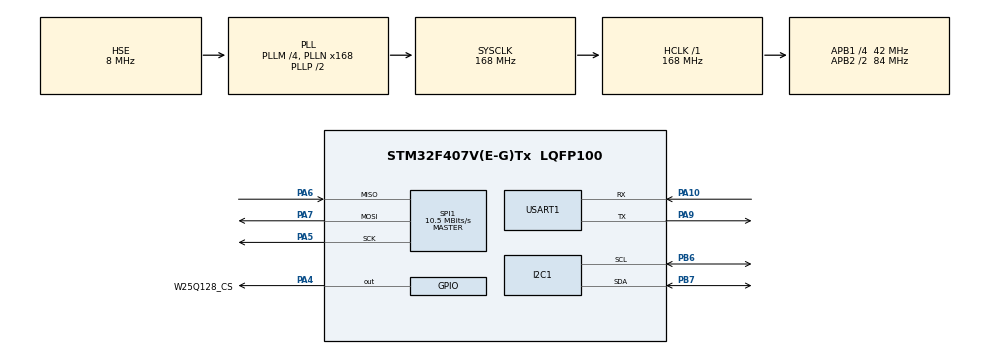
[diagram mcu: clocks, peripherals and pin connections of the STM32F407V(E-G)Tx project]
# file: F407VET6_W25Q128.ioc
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Dma.Request0=USART1_RX
Dma.Request1=USART1_TX
Dma.USART1_RX.0.Direction=DMA_PERIPH_TO_MEMORY
Dma.USART1_RX.0.FIFOMode=DMA_FIFOMODE_DISABLE
Dma.USART1_RX.0.Instance=DMA2_Stream2
Dma.USART1_RX.0.MemDataAlignment=DMA_MDATAALIGN_BYTE
Dma.USART1_RX.0.MemInc=DMA_MINC_ENABLE
Dma.USART1_RX.0.Mode=DMA_NORMAL
Dma.USART1_RX.0.PeriphDataAlignment=DMA_PDATAALIGN_BYTE
Dma.USART1_RX.0.PeriphInc=DMA_PINC_DISABLE
Dma.USART1_RX.0.Priority=DMA_PRIORITY_LOW
Dma.USART1_TX.1.Direction=DMA_MEMORY_TO_PERIPH
Dma.USART1_TX.1.FIFOMode=DMA_FIFOMODE_DISABLE
Dma.USART1_TX.1.Instance=DMA2_Stream7
Dma.USART1_TX.1.MemDataAlignment=DMA_MDATAALIGN_BYTE
Dma.USART1_TX.1.MemInc=DMA_MINC_ENABLE
Dma.USART1_TX.1.Mode=DMA_NORMAL
Dma.USART1_TX.1.PeriphDataAlignment=DMA_PDATAALIGN_BYTE
Dma.USART1_TX.1.PeriphInc=DMA_PINC_DISABLE
Dma.USART1_TX.1.Priority=DMA_PRIORITY_LOW
I2C1.I2C_Mode=I2C_Fast
Mcu.Family=STM32F4
Mcu.Name=STM32F407V(E-G)Tx
Mcu.Package=LQFP100
NVIC.DMA2_Stream2_IRQn=true\:0\:0\:false\:false\:true\:false\:true\:true
NVIC.DMA2_Stream7_IRQn=true\:0\:0\:false\:false\:true\:false\:true\:true
NVIC.I2C1_ER_IRQn=true\:0\:0\:false\:false\:true\:true\:true\:true
NVIC.I2C1_EV_IRQn=true\:0\:0\:false\:false\:true\:true\:true\:true
NVIC.PriorityGroup=NVIC_PRIORITYGROUP_4
NVIC.SPI1_IRQn=true\:0\:0\:false\:false\:true\:true\:true\:true
NVIC.TIM2_IRQn=true\:0\:0\:false\:false\:true\:true\:true\:true
NVIC.USART1_IRQn=true\:0\:0\:false\:false\:true\:true\:true\:true
PA10.Mode=Asynchronous
PA10.Signal=USART1_RX
PA13.Mode=Serial_Wire
PA13.Signal=SYS_JTMS-SWDIO
PA14.Mode=Serial_Wire
PA14.Signal=SYS_JTCK-SWCLK
PA4.GPIO_Label=W25Q128_CS
PA4.Signal=GPIO_Output
PA5.Mode=Full_Duplex_Master
PA5.Signal=SPI1_SCK
PA6.Mode=Full_Duplex_Master
PA6.Signal=SPI1_MISO
PA7.Mode=Full_Duplex_Master
PA7.Signal=SPI1_MOSI
PA9.Mode=Asynchronous
PA9.Signal=USART1_TX
PB6.Mode=I2C
PB6.Signal=I2C1_SCL
PB7.Mode=I2C
PB7.Signal=I2C1_SDA
PC14-OSC32_IN.Mode=LSE-External-Oscillator
PC14-OSC32_IN.Signal=RCC_OSC32_IN
PC15-OSC32_OUT.Mode=LSE-External-Oscillator
PC15-OSC32_OUT.Signal=RCC_OSC32_OUT
PH0-OSC_IN.Mode=HSE-External-Oscillator
PH0-OSC_IN.Signal=RCC_OSC_IN
PH1-OSC_OUT.Mode=HSE-External-Oscillator
PH1-OSC_OUT.Signal=RCC_OSC_OUT
ProjectManager.HeapSize=0x200
ProjectManager.StackSize=0x400
ProjectManager.TargetToolchain=STM32CubeIDE
RCC.48MHZClocksFreq_Value=84000000
RCC.AHBFreq_Value=168000000
RCC.APB1CLKDivider=RCC_HCLK_DIV4
RCC.APB1Freq_Value=42000000
RCC.APB1TimFreq_Value=84000000
RCC.APB2CLKDivider=RCC_HCLK_DIV2
RCC.APB2Freq_Value=84000000
RCC.APB2TimFreq_Value=168000000
RCC.CortexFreq_Value=168000000
RCC.HCLKFreq_Value=168000000
RCC.HSE_VALUE=8000000
RCC.HSI_VALUE=16000000
RCC.PLLM=4
RCC.PLLN=168
RCC.PLLSourceVirtual=RCC_PLLSOURCE_HSE
RCC.SYSCLKFreq_VALUE=168000000
RCC.SYSCLKSource=RCC_SYSCLKSOURCE_PLLCLK
RCC.VCOOutputFreq_Value=336000000
SPI1.BaudRatePrescaler=SPI_BAUDRATEPRESCALER_8
SPI1.CLKPhase=SPI_PHASE_2EDGE
SPI1.CLKPolarity=SPI_POLARITY_HIGH
SPI1.CalculateBaudRate=10.5 MBits/s
SPI1.Direction=SPI_DIRECTION_2LINES
SPI1.Mode=SPI_MODE_MASTER
SPI1.VirtualType=VM_MASTER
TIM2.Period=10000-1
TIM2.Prescaler=8400-1
USART1.VirtualMode=VM_ASYNC
VP_TIM2_VS_ClockSourceINT.Mode=Internal
board=custom

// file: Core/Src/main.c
/* USER CODE BEGIN Header */
/**
  ******************************************************************************
  * @file           : main.c
  * @brief          : Main program body
  ******************************************************************************
  * @attention
  *
  * Copyright (c) 2025 STMicroelectronics.
  * All rights reserved.
  *
  * This software is licensed under terms that can be found in the LICENSE file
  * in the root directory of this software component.
  * If no LICENSE file comes with this software, it is provided AS-IS.
  *
  ******************************************************************************
  */
/* USER CODE END Header */
#include "main.h"
#include "dma.h"
#include "i2c.h"
#include "spi.h"
#include "tim.h"
#include "usart.h"
#include "gpio.h"

/* USER CODE BEGIN Includes */
#include "string.h"
#include"../inc/retarget.h"		//printf函数重映射
#include "../../User/OLED/oled.h"
#include "../../User/w25qxx/w25qxx.h"

/* USER CODE END Includes */

void SystemClock_Config(void);

/* USER CODE BEGIN 0 */

uint16_t fps = 0, fps_max = 0 ,mytime = 0;
//用于格式化显示
char buffer[20] = {0};
char buffer1[20] = {0};

//重定义'定时器周期回调'函数
void HAL_TIM_PeriodElapsedCallback(TIM_HandleTypeDef *htim){	//1S周期回调
	if(htim == &htim2){
		if(fps_max - fps < -1 || fps_max - fps > 1)
		{
			fps_max = fps;
		}
		fps = 0;
		mytime ++;
		//printf("Success!");
	}
}

extern DMA_HandleTypeDef hdma_usart1_rx;//声明外部句柄
char receivData[50] = {0};//存放接收内容(记得初始化)
uint8_t dataReady;//发送标志位

//重定义'接收完成回调'函数
//void HAL_UART_RxCpltCallback(UART_HandleTypeDef *huart){//'HAL_UART_Receive_IT'的回调函数
//	if(huart == &huart1){
//	  HAL_UART_Transmit_DMA(&huart1,  (uint8_t*)receivData,50);//开启中断发送，将本次接收的数据发回
//
//	  //do something
//
//	  HAL_UART_Receive_DMA(&huart1, (uint8_t*)receivData, 50);//开启下一次中断接收
//	}
//}

//重定义'串口事件回调'函数
void HAL_UARTEx_RxEventCallback(UART_HandleTypeDef *huart, uint16_t Size){
	if(huart == &huart1){
		dataReady = 1;//在主函数里处理发送
		//HAL_UART_Transmit_DMA(&huart1, (uint8_t*)receivData, Size);//这里将数据发回,所以发送接收到的长度

		//处理数据...

		HAL_UARTEx_ReceiveToIdle_DMA(&huart1, (uint8_t*)receivData, 50);
		__HAL_DMA_DISABLE_IT(&hdma_usart1_rx,DMA_IT_HT);//关闭DMA接收过半中断
	}

}

uint8_t EX_FLASH_BUF[1];//存储读出内容
/* USER CODE END 0 */

int main(void)
{

  /* MCU Configuration--------------------------------------------------------*/

  /* Reset of all peripherals, Initializes the Flash interface and the Systick. */
  HAL_Init();

  /* Configure the system clock */
  SystemClock_Config();

  /* Initialize all configured peripherals */
  MX_GPIO_Init();
  MX_DMA_Init();
  MX_I2C1_Init();
  MX_TIM2_Init();
  MX_USART1_UART_Init();
  MX_SPI1_Init();
  /* USER CODE BEGIN 2 */

  RetargetInit(&huart1);//将printf()函数映射到UART1串口上

  W25QXX_Init();
  OLED_Init();

  HAL_UARTEx_ReceiveToIdle_DMA(&huart1, (uint8_t*)receivData, 50);//开启接收，末参数为最大长度
  __HAL_DMA_DISABLE_IT(&hdma_usart1_rx,DMA_IT_HT);//关闭DMA接收过半中断

  EX_FLASH_BUF[0]=W25QXX_ReadID();//读取W25QXX芯片的ID码。W25Q128芯片十进制ID是61207（十六进制表示是0xEF17）
  printf("芯片ID: %X\r\n",EX_FLASH_BUF[0]);
  sprintf(buffer1,"ID: %X", EX_FLASH_BUF[0]);

  HAL_TIM_Base_Start_IT(&htim2);//开启定时
  /* USER CODE END 2 */

  /* Infinite loop */
  /* USER CODE BEGIN WHILE */
  while (1)
  {
	  if (dataReady) {
		  // 处理activeBuffer中的数据
		  HAL_UART_Transmit_DMA(&huart1, (uint8_t*)receivData, strlen(receivData));
		  dataReady = 0;
	  }

	//dosomething...

	//显示帧数
	OLED_NewFrame();
	sprintf(buffer,"%u %u %u", fps_max, fps ,mytime);
	OLED_PrintASCIIString(0, 0, buffer, &afont16x8, OLED_COLOR_NORMAL);
	OLED_PrintASCIIString(0, 20, buffer1, &afont16x8, OLED_COLOR_NORMAL);
	OLED_ShowFrame();
	fps++;//每刷新一帧++

    /* USER CODE END WHILE */

  }
}

void SystemClock_Config(void)
{
  RCC_OscInitTypeDef RCC_OscInitStruct = {0};
  RCC_ClkInitTypeDef RCC_ClkInitStruct = {0};

  /** Configure the main internal regulator output voltage
  */
  __HAL_RCC_PWR_CLK_ENABLE();
  __HAL_PWR_VOLTAGESCALING_CONFIG(PWR_REGULATOR_VOLTAGE_SCALE1);

  /** Initializes the RCC Oscillators according to the specified parameters
  * in the RCC_OscInitTypeDef structure.
  */
  RCC_OscInitStruct.OscillatorType = RCC_OSCILLATORTYPE_HSE;
  RCC_OscInitStruct.HSEState = RCC_HSE_ON;
  RCC_OscInitStruct.PLL.PLLState = RCC_PLL_ON;
  RCC_OscInitStruct.PLL.PLLSource = RCC_PLLSOURCE_HSE;
  RCC_OscInitStruct.PLL.PLLM = 4;
  RCC_OscInitStruct.PLL.PLLN = 168;
  RCC_OscInitStruct.PLL.PLLP = RCC_PLLP_DIV2;
  RCC_OscInitStruct.PLL.PLLQ = 4;
  if (HAL_RCC_OscConfig(&RCC_OscInitStruct) != HAL_OK)
  {
    Error_Handler();
  }

  /** Initializes the CPU, AHB and APB buses clocks
  */
  RCC_ClkInitStruct.ClockType = RCC_CLOCKTYPE_HCLK|RCC_CLOCKTYPE_SYSCLK
                              |RCC_CLOCKTYPE_PCLK1|RCC_CLOCKTYPE_PCLK2;
  RCC_ClkInitStruct.SYSCLKSource = RCC_SYSCLKSOURCE_PLLCLK;
  RCC_ClkInitStruct.AHBCLKDivider = RCC_SYSCLK_DIV1;
  RCC_ClkInitStruct.APB1CLKDivider = RCC_HCLK_DIV4;
  RCC_ClkInitStruct.APB2CLKDivider = RCC_HCLK_DIV2;

  if (HAL_RCC_ClockConfig(&RCC_ClkInitStruct, FLASH_LATENCY_5) != HAL_OK)
  {
    Error_Handler();
  }
}

void Error_Handler(void)
{
  __disable_irq();
  while (1)
  {
  }
}
